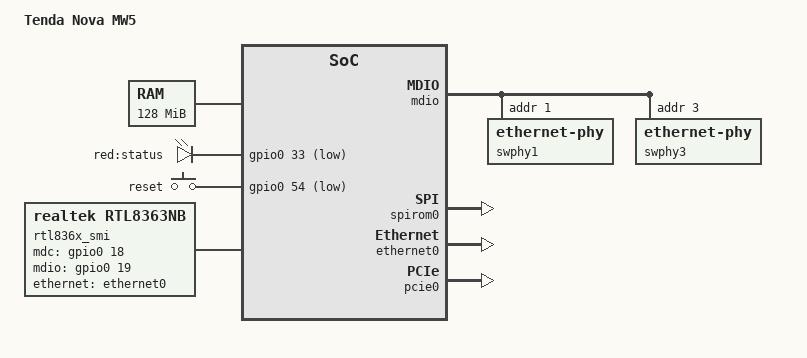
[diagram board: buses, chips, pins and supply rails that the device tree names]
// SPDX-License-Identifier: GPL-2.0-or-later OR MIT
/*
 * Tenda Nova MW5
 *
 * Reconstructed from the running Linux 3.10.90 vendor system and a verified
 * byte-for-byte 8 MiB SPI-NOR dump.  The external switch uses the rtl8367c
 * SDK family.  The observed copper ports are physical ports 1 (LAN) and 3
 * (WAN); the CPU path is EXT0 / physical port 6.
 */

#include <dt-bindings/gpio/gpio.h>
#include <dt-bindings/input/input.h>

#include "rtl8197f.dtsi"

/ {
	compatible = "tenda,nova-mw5", "realtek,rtl8197fs", "realtek,rtl8197f-soc";
	model = "Tenda Nova MW5";

	aliases {
		serial0 = &uart0;
	};

	chosen {
		bootargs = "console=ttyS0,115200n8 lpj=5000000 rootfstype=squashfs,jffs2 clk_ignore_unused";
		stdout-path = "serial0:115200n8";
	};

	memory@0 {
		device_type = "memory";
		reg = <0x00000000 0x08000000>;
	};

	/* OEM /etc_ro/gpio_conf assigns gpio_index 0 (red status LED) to
	 * GPIO33 and gpio_index 5 (reset key) to GPIO54.  Both functions are
	 * active-low on the vendor gpio controller.
	 */
	leds {
		compatible = "gpio-leds";
		status = "okay";

		led_status: status {
			label = "red:status";
			gpios = <&gpio0 33 GPIO_ACTIVE_LOW>;
			default-state = "keep";
		};
	};

	keys {
		compatible = "gpio-keys";
		status = "okay";

		reset {
			label = "reset";
			gpios = <&gpio0 54 GPIO_ACTIVE_LOW>;
			linux,code = <KEY_RESTART>;
			debounce-interval = <60>;
		};
	};

	rtl836x_smi: switch {
		compatible = "realtek,rtl8363nb", "realtek,rtl8367c", "realtek,rtl8365mb";
		mdc-gpios = <&gpio0 18 GPIO_ACTIVE_HIGH>;  /* GPIO C2 */
		mdio-gpios = <&gpio0 19 GPIO_ACTIVE_HIGH>; /* GPIO C3 */
		realtek,rtl8197f-mw5-oem-init;
		realtek,cpu-tag-4bytes-proto9;
		realtek,disable-leds;
		status = "okay";

		ports {
			#address-cells = <1>;
			#size-cells = <0>;

			/* Runtime PVID/link observations identify physical 1 as LAN and
			 * physical 3 as WAN.  Other copper indices are not bonded on the
			 * 2-port MW5 switch package and remain absent from DSA.
			 */
			port@1 {
				reg = <1>;
				label = "lan";
				phy-handle = <&swphy1>;
			};

			port@3 {
				reg = <3>;
				label = "wan";
				phy-handle = <&swphy3>;
			};

			port@6 {
				reg = <6>;
				label = "cpu";
				ethernet = <&ethernet0>;
				phy-mode = "rgmii";
				tx-internal-delay-ps = <0>;
				rx-internal-delay-ps = <1500>;

				fixed-link {
					speed = <1000>;
					full-duplex;
					pause;
				};
			};
		};

		mdio {
			compatible = "realtek,smi-mdio";
			#address-cells = <1>;
			#size-cells = <0>;

			swphy1: ethernet-phy@1 {
				reg = <1>;
				eee-broken-100tx;
				eee-broken-1000t;
			};

			swphy3: ethernet-phy@3 {
				reg = <3>;
				eee-broken-100tx;
				eee-broken-1000t;
			};
		};
	};
};

&gpio0 {
	/delete-property/ interrupt-controller;
	/delete-property/ #interrupt-cells;
	/delete-property/ interrupt-parent;
	/delete-property/ interrupts;
	status = "okay";
};

&uart0 {
	/* RTL8197FS uses byte-wide 16550 registers at four-byte spacing.  The
	 * normal receive/transmit data register is the vendor RBR/THR alias at
	 * +0x24, while DLL remains at +0x00 when DLAB is set.
	 */
	reg-io-width = <1>;
	realtek,rx-alias-offset = <0x24>;
	realtek,tx-alias-offset = <0x24>;
	/delete-property/ interrupt-parent;
	/delete-property/ interrupts;
};

&spi0 {
	status = "disabled";
};

&spirom0 {
	status = "okay";
	reg = <0x10000000 0x00800000>;
	erase-size = <0x10000>;
	/* MW5 auto-map byte addresses already match the OEM flash coordinate
	 * system.  Subtracting one corrupts cr6c/hsqs reads through MTD.
	 */
	realtek,read-shift = <0>;

	partitions {
		compatible = "fixed-partitions";
		#address-cells = <1>;
		#size-cells = <1>;

		partition@0 {
			label = "boot";
			reg = <0x000000 0x020000>;
			read-only;
		};

		partition@20000 {
			label = "factory";
			reg = <0x020000 0x010000>;
			read-only;
		};

		firmware: partition@30000 {
			/* OpenWrt mtdsplit selects firmware parsers by the partition
			 * name.  A compatible property here suppresses that path in
			 * mtd_partition_split(), so keep this node name-based.
			 */
			label = "firmware";
			reg = <0x030000 0x590000>;
		};

		partition@5c0000 {
			label = "cfm";
			reg = <0x5c0000 0x010000>;
			read-only;
		};

		partition@5d0000 {
			label = "cfm_backup";
			reg = <0x5d0000 0x010000>;
			read-only;
		};

		partition@5e0000 {
			label = "log";
			reg = <0x5e0000 0x210000>;
			read-only;
		};

		partition@7f0000 {
			label = "env";
			reg = <0x7f0000 0x010000>;
			read-only;
		};
	};
};

&ethdiag0 {
	status = "disabled";
};

&ethernet0 {
	/* The RTL8363/RTL8367 CPU port 6 is the switch-side endpoint.  The
	 * RTL8197FS-side endpoint is physical P0/RGMII, exactly as in the SDK
	 * CONFIG_RTL_8367R_SUPPORT path.  DMA descriptors must therefore target
	 * P0 directly rather than rtl865x extension-port bit 6.
	 */
	realtek,tx-port-mask = <0x1>;
	realtek,tx-dp-ext = <0x0>;
	realtek,tx-extspa = <0x0>;
	/* RTL8197FS non-VG SDK: six dwords / 24-byte CPU DMA descriptors. */
	realtek,descriptor-dwords = <6>;
	realtek,p0-cpu-tag-pass-through;
	realtek,legacy-rd05-sdk-pipeline;
	realtek,rx-poll-fallback;
	realtek,rx-poll-ms = <50>;
	realtek,sdk-cpuicr1-init;
	realtek,sdk-swcore-init;
	realtek,sdk-crc-lengths;
	realtek,sdk-trxrdy;
	status = "okay";
};

&pcie0 {
	/* Stock boot discovers PCI ID 10ec:b822 (RTL8822B family).  Keep the
	 * controller available; WLAN support remains a separate driver task.
	 */
	status = "okay";
};
